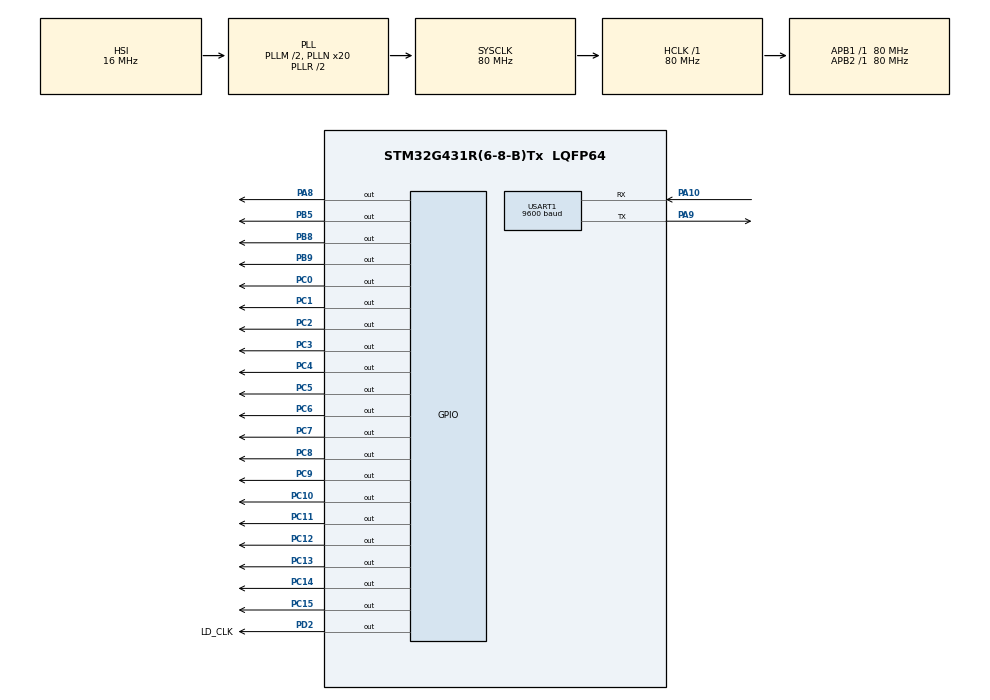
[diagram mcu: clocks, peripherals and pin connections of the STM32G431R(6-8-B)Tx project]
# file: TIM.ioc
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Mcu.Family=STM32G4
Mcu.Name=STM32G431R(6-8-B)Tx
Mcu.Package=LQFP64
NVIC.PriorityGroup=NVIC_PRIORITYGROUP_4
NVIC.TIM4_IRQn=true\:0\:0\:false\:false\:true\:true\:true
NVIC.USART1_IRQn=true\:0\:0\:false\:false\:true\:true\:true
PA10.Mode=Asynchronous
PA10.Signal=USART1_RX
PA8.Signal=GPIO_Output
PA9.Mode=Asynchronous
PA9.Signal=USART1_TX
PB5.Signal=GPIO_Output
PB8-BOOT0.Signal=GPIO_Output
PB9.Signal=GPIO_Output
PC0.Signal=GPIO_Output
PC1.Signal=GPIO_Output
PC10.Signal=GPIO_Output
PC11.Signal=GPIO_Output
PC12.Signal=GPIO_Output
PC13.Signal=GPIO_Output
PC14-OSC32_IN.Signal=GPIO_Output
PC15-OSC32_OUT.Signal=GPIO_Output
PC2.Signal=GPIO_Output
PC3.Signal=GPIO_Output
PC4.Signal=GPIO_Output
PC5.Signal=GPIO_Output
PC6.Signal=GPIO_Output
PC7.Signal=GPIO_Output
PC8.Signal=GPIO_Output
PC9.Signal=GPIO_Output
PD2.GPIO_Label=LD_CLK
PD2.Signal=GPIO_Output
PF0-OSC_IN.Mode=HSE-External-Oscillator
PF0-OSC_IN.Signal=RCC_OSC_IN
PF1-OSC_OUT.Mode=HSE-External-Oscillator
PF1-OSC_OUT.Signal=RCC_OSC_OUT
ProjectManager.HeapSize=0x200
ProjectManager.StackSize=0x400
ProjectManager.TargetToolchain=MDK-ARM V5.27
RCC.ADC12Freq_Value=80000000
RCC.AHBFreq_Value=80000000
RCC.APB1Freq_Value=80000000
RCC.APB1TimFreq_Value=80000000
RCC.APB2Freq_Value=80000000
RCC.APB2TimFreq_Value=80000000
RCC.CortexFreq_Value=80000000
RCC.EXTERNAL_CLOCK_VALUE=12288000
RCC.HCLKFreq_Value=80000000
RCC.HSE_VALUE=24000000
RCC.HSI48_VALUE=48000000
RCC.HSI_VALUE=16000000
RCC.LSE_VALUE=32768
RCC.PLLM=RCC_PLLM_DIV2
RCC.PLLN=20
RCC.SYSCLKFreq_VALUE=80000000
RCC.SYSCLKSource=RCC_SYSCLKSOURCE_PLLCLK
RCC.USBFreq_Value=80000000
RCC.VCOOutputFreq_Value=160000000
TIM4.PeriodNoDither=1000-1
TIM4.Prescaler=80-1
USART1.BaudRate=9600
USART1.VirtualMode-Asynchronous=VM_ASYNC
VP_SYS_VS_DBSignals.Mode=DisableDeadBatterySignals
VP_TIM4_VS_ClockSourceINT.Mode=Internal
board=custom

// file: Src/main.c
/* USER CODE BEGIN Header */
/**
  ******************************************************************************
  * @file           : main.c
  * @brief          : Main program body
  ******************************************************************************
  * @attention
  *
  * <h2><center>&copy; Copyright (c) 2021 STMicroelectronics.
  * All rights reserved.</center></h2>
  *
  * This software component is licensed by ST under BSD 3-Clause license,
  * the "License"; You may not use this file except in compliance with the
  * License. You may obtain a copy of the License at:
  *                        opensource.org/licenses/BSD-3-Clause
  *
  ******************************************************************************
  */
/* USER CODE END Header */
#include "main.h"
#include <stdio.h>
/* USER CODE BEGIN Includes */
#include "lcd.h"
/* USER CODE END Includes */

TIM_HandleTypeDef htim4;

UART_HandleTypeDef huart1;

/* USER CODE BEGIN PV */
uint16_t Time_Val;
_Bool Flag;
/* USER CODE END PV */

void SystemClock_Config(void);
static void MX_GPIO_Init(void);
static void MX_TIM4_Init(void);
static void MX_USART1_UART_Init(void);

/* USER CODE BEGIN 0 */
int fputc(int ch, FILE *f)
{
	HAL_UART_Transmit(&huart1, (uint8_t *)&ch, 1, HAL_MAX_DELAY);
	return ch;
}
void Display_Proc()
{
	uint8_t buf[30];
	sprintf((char *)buf, "TIME: %02d s", Time_Val);
	LCD_DisplayStringLine(Line2, buf);
}
/* USER CODE END 0 */

int main(void)
{

  /* MCU Configuration--------------------------------------------------------*/

  /* Reset of all peripherals, Initializes the Flash interface and the Systick. */
  HAL_Init();

  /* Configure the system clock */
  SystemClock_Config();

  /* Initialize all configured peripherals */
  MX_GPIO_Init();
  MX_TIM4_Init();
  MX_USART1_UART_Init();
  /* USER CODE BEGIN 2 */
	LCD_Init();
	LCD_Clear(White);
	LCD_SetBackColor(White);
	LCD_SetTextColor(Black);
	HAL_TIM_Base_Start_IT(&htim4);
  /* USER CODE END 2 */

  /* Infinite loop */
  /* USER CODE BEGIN WHILE */
  while (1)
  {
		//Display_Proc();
    /* USER CODE END WHILE */

    /* USER CODE BEGIN 3 */
		if(Flag)
		{
			Flag = 0;
			printf("%d\r\n", HAL_GetTick());
		}
  }
  /* USER CODE END 3 */
}

void SystemClock_Config(void)
{
  RCC_OscInitTypeDef RCC_OscInitStruct = {0};
  RCC_ClkInitTypeDef RCC_ClkInitStruct = {0};
  RCC_PeriphCLKInitTypeDef PeriphClkInit = {0};

  /** Configure the main internal regulator output voltage
  */
  HAL_PWREx_ControlVoltageScaling(PWR_REGULATOR_VOLTAGE_SCALE1);
  /** Initializes the RCC Oscillators according to the specified parameters
  * in the RCC_OscInitTypeDef structure.
  */
  RCC_OscInitStruct.OscillatorType = RCC_OSCILLATORTYPE_HSI;
  RCC_OscInitStruct.HSIState = RCC_HSI_ON;
  RCC_OscInitStruct.HSICalibrationValue = RCC_HSICALIBRATION_DEFAULT;
  RCC_OscInitStruct.PLL.PLLState = RCC_PLL_ON;
  RCC_OscInitStruct.PLL.PLLSource = RCC_PLLSOURCE_HSI;
  RCC_OscInitStruct.PLL.PLLM = RCC_PLLM_DIV2;
  RCC_OscInitStruct.PLL.PLLN = 20;
  RCC_OscInitStruct.PLL.PLLP = RCC_PLLP_DIV2;
  RCC_OscInitStruct.PLL.PLLQ = RCC_PLLQ_DIV2;
  RCC_OscInitStruct.PLL.PLLR = RCC_PLLR_DIV2;
  if (HAL_RCC_OscConfig(&RCC_OscInitStruct) != HAL_OK)
  {
    Error_Handler();
  }
  /** Initializes the CPU, AHB and APB buses clocks
  */
  RCC_ClkInitStruct.ClockType = RCC_CLOCKTYPE_HCLK|RCC_CLOCKTYPE_SYSCLK
                              |RCC_CLOCKTYPE_PCLK1|RCC_CLOCKTYPE_PCLK2;
  RCC_ClkInitStruct.SYSCLKSource = RCC_SYSCLKSOURCE_PLLCLK;
  RCC_ClkInitStruct.AHBCLKDivider = RCC_SYSCLK_DIV1;
  RCC_ClkInitStruct.APB1CLKDivider = RCC_HCLK_DIV1;
  RCC_ClkInitStruct.APB2CLKDivider = RCC_HCLK_DIV1;

  if (HAL_RCC_ClockConfig(&RCC_ClkInitStruct, FLASH_LATENCY_2) != HAL_OK)
  {
    Error_Handler();
  }
  /** Initializes the peripherals clocks
  */
  PeriphClkInit.PeriphClockSelection = RCC_PERIPHCLK_USART1;
  PeriphClkInit.Usart1ClockSelection = RCC_USART1CLKSOURCE_PCLK2;
  if (HAL_RCCEx_PeriphCLKConfig(&PeriphClkInit) != HAL_OK)
  {
    Error_Handler();
  }
}

static void MX_TIM4_Init(void)
{

  TIM_ClockConfigTypeDef sClockSourceConfig = {0};
  TIM_MasterConfigTypeDef sMasterConfig = {0};

  htim4.Instance = TIM4;
  htim4.Init.Prescaler = 80-1;
  htim4.Init.CounterMode = TIM_COUNTERMODE_UP;
  htim4.Init.Period = 999;
  htim4.Init.ClockDivision = TIM_CLOCKDIVISION_DIV1;
  htim4.Init.AutoReloadPreload = TIM_AUTORELOAD_PRELOAD_DISABLE;
  if (HAL_TIM_Base_Init(&htim4) != HAL_OK)
  {
    Error_Handler();
  }
  sClockSourceConfig.ClockSource = TIM_CLOCKSOURCE_INTERNAL;
  if (HAL_TIM_ConfigClockSource(&htim4, &sClockSourceConfig) != HAL_OK)
  {
    Error_Handler();
  }
  sMasterConfig.MasterOutputTrigger = TIM_TRGO_RESET;
  sMasterConfig.MasterSlaveMode = TIM_MASTERSLAVEMODE_DISABLE;
  if (HAL_TIMEx_MasterConfigSynchronization(&htim4, &sMasterConfig) != HAL_OK)
  {
    Error_Handler();
  }

}

static void MX_USART1_UART_Init(void)
{

  huart1.Instance = USART1;
  huart1.Init.BaudRate = 9600;
  huart1.Init.WordLength = UART_WORDLENGTH_8B;
  huart1.Init.StopBits = UART_STOPBITS_1;
  huart1.Init.Parity = UART_PARITY_NONE;
  huart1.Init.Mode = UART_MODE_TX_RX;
  huart1.Init.HwFlowCtl = UART_HWCONTROL_NONE;
  huart1.Init.OverSampling = UART_OVERSAMPLING_16;
  huart1.Init.OneBitSampling = UART_ONE_BIT_SAMPLE_DISABLE;
  huart1.Init.ClockPrescaler = UART_PRESCALER_DIV1;
  huart1.AdvancedInit.AdvFeatureInit = UART_ADVFEATURE_NO_INIT;
  if (HAL_UART_Init(&huart1) != HAL_OK)
  {
    Error_Handler();
  }
  if (HAL_UARTEx_SetTxFifoThreshold(&huart1, UART_TXFIFO_THRESHOLD_1_8) != HAL_OK)
  {
    Error_Handler();
  }
  if (HAL_UARTEx_SetRxFifoThreshold(&huart1, UART_RXFIFO_THRESHOLD_1_8) != HAL_OK)
  {
    Error_Handler();
  }
  if (HAL_UARTEx_DisableFifoMode(&huart1) != HAL_OK)
  {
    Error_Handler();
  }

}

static void MX_GPIO_Init(void)
{
  GPIO_InitTypeDef GPIO_InitStruct = {0};

  /* GPIO Ports Clock Enable */
  __HAL_RCC_GPIOC_CLK_ENABLE();
  __HAL_RCC_GPIOF_CLK_ENABLE();
  __HAL_RCC_GPIOA_CLK_ENABLE();
  __HAL_RCC_GPIOD_CLK_ENABLE();
  __HAL_RCC_GPIOB_CLK_ENABLE();

  /*Configure GPIO pin Output Level */
  HAL_GPIO_WritePin(GPIOC, GPIO_PIN_13|GPIO_PIN_14|GPIO_PIN_15|GPIO_PIN_0
                          |GPIO_PIN_1|GPIO_PIN_2|GPIO_PIN_3|GPIO_PIN_4
                          |GPIO_PIN_5|GPIO_PIN_6|GPIO_PIN_7|GPIO_PIN_8
                          |GPIO_PIN_9|GPIO_PIN_10|GPIO_PIN_11|GPIO_PIN_12, GPIO_PIN_RESET);

  /*Configure GPIO pin Output Level */
  HAL_GPIO_WritePin(GPIOA, GPIO_PIN_8, GPIO_PIN_RESET);

  /*Configure GPIO pin Output Level */
  HAL_GPIO_WritePin(LD_CLK_GPIO_Port, LD_CLK_Pin, GPIO_PIN_RESET);

  /*Configure GPIO pin Output Level */
  HAL_GPIO_WritePin(GPIOB, GPIO_PIN_5|GPIO_PIN_8|GPIO_PIN_9, GPIO_PIN_RESET);

  /*Configure GPIO pins : PC13 PC14 PC15 PC0
                           PC1 PC2 PC3 PC4
                           PC5 PC6 PC7 PC8
                           PC9 PC10 PC11 PC12 */
  GPIO_InitStruct.Pin = GPIO_PIN_13|GPIO_PIN_14|GPIO_PIN_15|GPIO_PIN_0
                          |GPIO_PIN_1|GPIO_PIN_2|GPIO_PIN_3|GPIO_PIN_4
                          |GPIO_PIN_5|GPIO_PIN_6|GPIO_PIN_7|GPIO_PIN_8
                          |GPIO_PIN_9|GPIO_PIN_10|GPIO_PIN_11|GPIO_PIN_12;
  GPIO_InitStruct.Mode = GPIO_MODE_OUTPUT_PP;
  GPIO_InitStruct.Pull = GPIO_NOPULL;
  GPIO_InitStruct.Speed = GPIO_SPEED_FREQ_LOW;
  HAL_GPIO_Init(GPIOC, &GPIO_InitStruct);

  /*Configure GPIO pin : PA8 */
  GPIO_InitStruct.Pin = GPIO_PIN_8;
  GPIO_InitStruct.Mode = GPIO_MODE_OUTPUT_PP;
  GPIO_InitStruct.Pull = GPIO_NOPULL;
  GPIO_InitStruct.Speed = GPIO_SPEED_FREQ_LOW;
  HAL_GPIO_Init(GPIOA, &GPIO_InitStruct);

  /*Configure GPIO pin : LD_CLK_Pin */
  GPIO_InitStruct.Pin = LD_CLK_Pin;
  GPIO_InitStruct.Mode = GPIO_MODE_OUTPUT_PP;
  GPIO_InitStruct.Pull = GPIO_NOPULL;
  GPIO_InitStruct.Speed = GPIO_SPEED_FREQ_LOW;
  HAL_GPIO_Init(LD_CLK_GPIO_Port, &GPIO_InitStruct);

  /*Configure GPIO pins : PB5 PB8 PB9 */
  GPIO_InitStruct.Pin = GPIO_PIN_5|GPIO_PIN_8|GPIO_PIN_9;
  GPIO_InitStruct.Mode = GPIO_MODE_OUTPUT_PP;
  GPIO_InitStruct.Pull = GPIO_NOPULL;
  GPIO_InitStruct.Speed = GPIO_SPEED_FREQ_LOW;
  HAL_GPIO_Init(GPIOB, &GPIO_InitStruct);

}

/* USER CODE BEGIN 4 */
void HAL_TIM_PeriodElapsedCallback(TIM_HandleTypeDef *htim)
{
	HAL_TIM_Base_Start_IT(&htim4);
	static uint16_t tim_count;
	if(htim->Instance == TIM4)
	{
		if(++tim_count == 10)
		{
			Flag = 1;
			tim_count = 0;
		}
	}

}
/* USER CODE END 4 */

void Error_Handler(void)
{
  __disable_irq();
  while (1)
  {
  }
}

/************************ (C) COPYRIGHT STMicroelectronics *****END OF FILE****/
